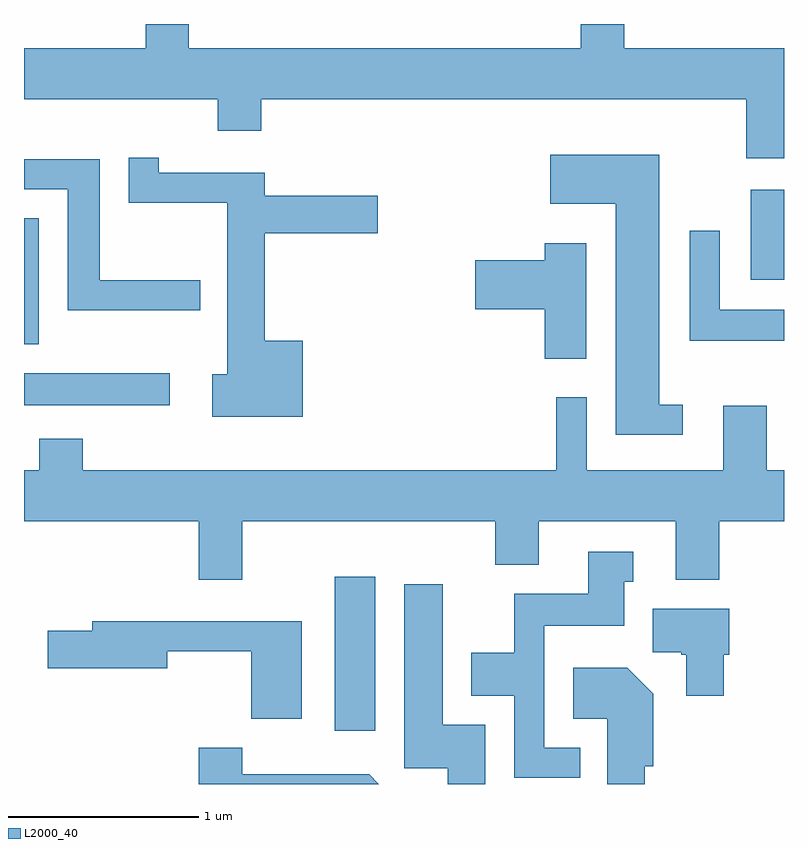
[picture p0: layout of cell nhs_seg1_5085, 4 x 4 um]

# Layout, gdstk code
import gdstk
lib = gdstk.Library(unit=1e-6, precision=1e-09)
def R(c, l, rs):  # rectangles x0, y0, x1, y1
    for r in rs: c.add(gdstk.rectangle(r[:2], r[2:], *l))
def P(c, l, *ps):  # polygons
    for p in ps: c.add(gdstk.Polygon(p, *l))
L2000_40 = (2000, 40)

nhs_seg1_5085 = lib.new_cell('nhs_seg1_5085')
R(nhs_seg1_5085, L2000_40, [(339.246,933.991,339.459,934.804), (337.611,935.706,338.378,935.874), (337.611,936.026,337.689,936.689), (341.436,936.366,341.611,936.839)])
P(nhs_seg1_5085, L2000_40, [(341.611,937.584),(340.769,937.584),(340.769,937.712),(340.541,937.712),(340.541,937.584),(338.479,937.584),(338.479,937.712),(338.251,937.712),(338.251,937.584),(337.611,937.584),(337.611,937.316),(338.631,937.316),(338.631,937.151),(338.859,937.151),(338.859,937.316),(341.411,937.316),(341.411,937.006),(341.611,937.006)],
  [(341.078,935.709),(340.954,935.709),(340.954,937.024),(340.381,937.024),(340.381,936.766),(340.726,936.766),(340.726,935.551),(341.078,935.551)],
  [(339.079,936.044),(338.879,936.044),(338.879,936.611),(339.474,936.611),(339.474,936.809),(338.879,936.809),(338.879,936.929),(338.319,936.929),(338.319,937.008),(338.161,937.008),(338.161,936.771),(338.681,936.771),(338.681,935.869),(338.601,935.869),(338.601,935.646),(339.079,935.646)],
  [(338.538,936.364),(338.009,936.364),(338.009,936.999),(337.611,936.999),(337.611,936.841),(337.841,936.841),(337.841,936.206),(338.538,936.206)],
  [(341.611,936.209),(341.274,936.209),(341.274,936.623),(341.116,936.623),(341.116,936.046),(341.611,936.046)],
  [(340.569,936.559),(340.351,936.559),(340.351,936.469),(339.986,936.469),(339.986,936.211),(340.351,936.211),(340.351,935.951),(340.569,935.951)],
  [(338.759,935.096),(340.091,935.096),(340.091,934.866),(340.319,934.866),(340.319,935.096),(341.041,935.096),(341.041,934.786),(341.269,934.786),(341.269,935.096),(341.611,935.096),(341.611,935.364),(341.519,935.364),(341.519,935.704),(341.291,935.704),(341.291,935.364),(340.574,935.364),(340.574,935.748),(340.411,935.748),(340.411,935.364),(337.919,935.364),(337.919,935.529),(337.691,935.529),(337.691,935.364),(337.611,935.364),(337.611,935.096),(338.531,935.096),(338.531,934.786),(338.759,934.786)],
  [(340.538,933.904),(340.349,933.904),(340.349,934.546),(340.769,934.546),(340.769,934.776),(340.818,934.776),(340.818,934.934),(340.581,934.934),(340.581,934.714),(340.191,934.714),(340.191,934.404),(339.966,934.404),(339.966,934.176),(340.191,934.176),(340.191,933.746),(340.538,933.746)],
  [(340.039,934.024),(339.814,934.024),(339.814,934.764),(339.611,934.764),(339.611,933.796),(339.841,933.796),(339.841,933.712),(340.039,933.712)],
  [(341.294,934.391),(341.324,934.391),(341.324,934.634),(340.921,934.634),(340.921,934.406),(341.07,934.406),(341.07,934.391),(341.096,934.391),(341.096,934.176),(341.294,934.176)],
  [(339.074,934.569),(337.971,934.569),(337.971,934.519),(337.736,934.519),(337.736,934.321),(338.364,934.321),(338.364,934.411),(338.806,934.411),(338.806,934.056),(339.074,934.056)],
  [(340.879,933.806),(340.924,933.806),(340.924,934.187),(340.787,934.324),(340.501,934.324),(340.501,934.056),(340.681,934.056),(340.681,933.712),(340.879,933.712)],
  [(339.427,933.764),(338.759,933.764),(338.759,933.904),(338.531,933.904),(338.531,933.712),(339.479,933.712)])

lib.write_gds('nhs_seg1_5085.gds')
